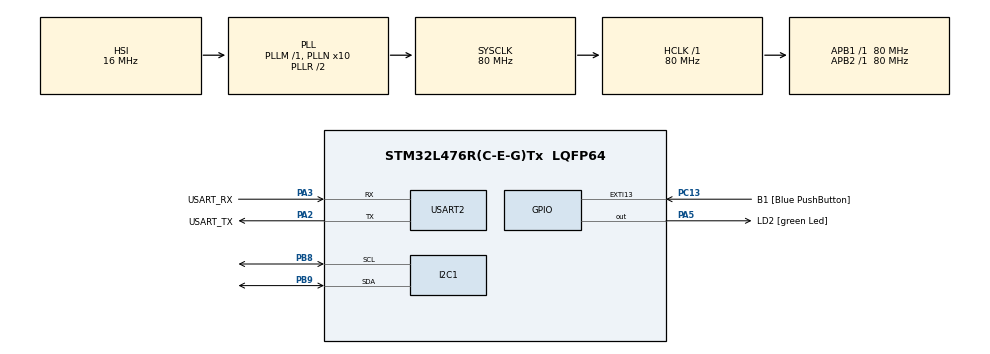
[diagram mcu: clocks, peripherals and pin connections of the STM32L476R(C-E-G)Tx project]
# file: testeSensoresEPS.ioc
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I2C1.Timing=0x10D19CE4
Mcu.Family=STM32L4
Mcu.Name=STM32L476R(C-E-G)Tx
Mcu.Package=LQFP64
NVIC.PriorityGroup=NVIC_PRIORITYGROUP_4
PA13\ (JTMS-SWDIO).GPIO_Label=TMS
PA13\ (JTMS-SWDIO).Mode=Serial_Wire
PA13\ (JTMS-SWDIO).Signal=SYS_JTMS-SWDIO
PA14\ (JTCK-SWCLK).GPIO_Label=TCK
PA14\ (JTCK-SWCLK).Mode=Serial_Wire
PA14\ (JTCK-SWCLK).Signal=SYS_JTCK-SWCLK
PA2.GPIO_Label=USART_TX
PA2.GPIO_Mode=GPIO_MODE_AF_PP
PA2.GPIO_PuPd=GPIO_NOPULL
PA2.GPIO_Speed=GPIO_SPEED_FREQ_VERY_HIGH
PA2.Mode=Asynchronous
PA2.Signal=USART2_TX
PA3.GPIO_Label=USART_RX
PA3.GPIO_Mode=GPIO_MODE_AF_PP
PA3.GPIO_PuPd=GPIO_NOPULL
PA3.GPIO_Speed=GPIO_SPEED_FREQ_VERY_HIGH
PA3.Mode=Asynchronous
PA3.Signal=USART2_RX
PA5.GPIO_Label=LD2 [green Led]
PA5.GPIO_ModeDefaultOutputPP=GPIO_MODE_OUTPUT_PP
PA5.GPIO_PuPd=GPIO_NOPULL
PA5.GPIO_Speed=GPIO_SPEED_FREQ_LOW
PA5.Signal=GPIO_Output
PB3\ (JTDO-TRACESWO).GPIO_Label=SWO
PB3\ (JTDO-TRACESWO).Signal=SYS_JTDO-SWO
PB8.Mode=I2C
PB8.Signal=I2C1_SCL
PB9.Mode=I2C
PB9.Signal=I2C1_SDA
PC13.GPIO_Label=B1 [Blue PushButton]
PC13.GPIO_ModeDefaultEXTI=GPIO_MODE_IT_FALLING
PC13.GPIO_PuPd=GPIO_NOPULL
PC13.Signal=GPXTI13
PC14-OSC32_IN\ (PC14).Mode=LSE-External-Oscillator
PC14-OSC32_IN\ (PC14).Signal=RCC_OSC32_IN
PC15-OSC32_OUT\ (PC15).Mode=LSE-External-Oscillator
PC15-OSC32_OUT\ (PC15).Signal=RCC_OSC32_OUT
PH0-OSC_IN\ (PH0).Signal=RCC_OSC_IN
PH1-OSC_OUT\ (PH1).Signal=RCC_OSC_OUT
ProjectManager.HeapSize=0x200
ProjectManager.StackSize=0x400
ProjectManager.TargetToolchain=CMake
RCC.ADCFreq_Value=64000000
RCC.AHBFreq_Value=80000000
RCC.APB1Freq_Value=80000000
RCC.APB1TimFreq_Value=80000000
RCC.APB2Freq_Value=80000000
RCC.APB2TimFreq_Value=80000000
RCC.CortexFreq_Value=80000000
RCC.HCLKFreq_Value=80000000
RCC.HSE_VALUE=8000000
RCC.HSI_VALUE=16000000
RCC.MSI_VALUE=4000000
RCC.PLLN=10
RCC.PLLSourceVirtual=RCC_PLLSOURCE_HSI
RCC.PREFETCH_ENABLE=1
RCC.SYSCLKFreq_VALUE=80000000
RCC.SYSCLKSource=RCC_SYSCLKSOURCE_PLLCLK
RCC.USBFreq_Value=64000000
RCC.VCOOutputFreq_Value=160000000
USART2.VirtualMode-Asynchronous=VM_ASYNC
board=NUCLEO-L476RG

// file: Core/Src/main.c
/* USER CODE BEGIN Header */
/**
  ******************************************************************************
  * @file           : main.c
  * @brief          : Main program body
  ******************************************************************************
  * @attention
  *
  * Copyright (c) 2026 STMicroelectronics.
  * All rights reserved.
  *
  * This software is licensed under terms that can be found in the LICENSE file
  * in the root directory of this software component.
  * If no LICENSE file comes with this software, it is provided AS-IS.
  *
  ******************************************************************************
  */
/* USER CODE END Header */
#include "main.h"

/* USER CODE BEGIN Includes */
#include "ina3221.h"
#include "mp2733.h"
#include <stdio.h>
/* USER CODE END Includes */

/* USER CODE BEGIN PD */
#define SUCCESS_STR "+1000 aura\r\n"
/* USER CODE END PD */

I2C_HandleTypeDef hi2c1;

UART_HandleTypeDef huart2;

void SystemClock_Config(void);
static void MX_GPIO_Init(void);
static void MX_I2C1_Init(void);
static void MX_USART2_UART_Init(void);

int main(void)
{

  /* MCU Configuration--------------------------------------------------------*/

  /* Reset of all peripherals, Initializes the Flash interface and the Systick. */

  HAL_Init();

  /* Configure the system clock */
  SystemClock_Config();

  /* Initialize all configured peripherals */
  MX_GPIO_Init();
  MX_I2C1_Init();
  MX_USART2_UART_Init();

  /* Infinite loop */
  /* USER CODE BEGIN WHILE */

  // Creates handles
     INA3221_Handle h;
     MP2733_HandleTypeDef MP2733;
  while (1)
  {
    /* USER CODE END WHILE */

    /* USER CODE BEGIN 3 */

    // Initialization and reset

    // INA3221
      // this addr val is lowkey hardcoded
      INA3221_init(&h, &hi2c1, INA3221_ADDR_VS, 500u);

      printf("trying to reset ina3221...\r\n");
      INA3221_Error err;
      err = INA3221_set_cfg(&h,
        INA3221_CFG_RESET
      );
      if (err != INA3221_OK) {
        printf("error init INA: %u\r\n", err);
        continue; // commented out to allow MP2733 initialization even if INA3221 fails
      } else {
        printf(SUCCESS_STR);
      }

    // MP2733
      MP2733_Init(&MP2733, &hi2c1);
      uint8_t mp2733_initialized = MP2733_WriteConfig(&MP2733);
      if (mp2733_initialized)
      {
          printf("MP2733 inicializado com sucesso!\r\n");
      }
      else
      {
          printf("Erro na inicialização do MP2733!\r\n");
      }

    HAL_Delay(100u);

    // Configuration

    // INA
      printf("trying to configure ina3221...\r\n");
      err = INA3221_set_cfg(&h,
        INA3221_CFG_CHAN_1
        | INA3221_CFG_CHAN_2
        | INA3221_CFG_CHAN_3
        | INA3221_CFG_AVG_1
        | INA3221_CFG_TIME_BUS_1100_US
        | INA3221_CFG_TIME_SHUNT_1100_US
        | INA3221_CFG_MODE_SHUNT_AND_BUS_CONTINUOUS
      );
      if (err != INA3221_OK) {
        printf("error: %u\r\n", err);
        // continue;
      } else {
        printf(SUCCESS_STR);
      }

    // MP2733
      // Configuration is already done in MP2733_Init, so no need to configure again here

    HAL_Delay(100u);

    // INA die id reading
    printf("trying to read die id...\r\n");
    uint16_t id;
    err = INA3221_read_reg(&h, INA3221_REG_DIE_ID, &id);
    if (err != INA3221_OK) {
      printf("error: %u\r\n", err);
      // continue;
    } else {
      printf(SUCCESS_STR);
      printf("die id is %x in hex\r\n", id);
    }

    HAL_Delay(100u);

    unsigned i = 0u;

    // Configs done, starts reading loop
    while (1) {
      //each loop reads a different INA channel
      INA3221_Chan chan;
      switch (i) {
        case 0u:
          chan = INA3221_CHAN_1;
          break;
        case 1u:
          chan = INA3221_CHAN_2;
          break;
        case 2u:
          chan = INA3221_CHAN_3;
          break;
        default: // unreachable
          chan = INA3221_CHAN_1;
          break;
      }

      INA3221_Reg reg_bus;
      INA3221_Reg reg_shunt;
      switch (chan) {
        case INA3221_CHAN_1:
          reg_bus = INA3221_REG_CHAN_1_BUS;
          reg_shunt = INA3221_REG_CHAN_1_SHUNT;
          break;
        case INA3221_CHAN_2:
          reg_bus = INA3221_REG_CHAN_2_BUS;
          reg_shunt = INA3221_REG_CHAN_2_SHUNT;
          break;
        case INA3221_CHAN_3:
          reg_bus = INA3221_REG_CHAN_3_BUS;
          reg_shunt = INA3221_REG_CHAN_3_SHUNT;
          break;
        default: // unreachable
          reg_bus = INA3221_REG_CHAN_1_BUS;
          reg_shunt = INA3221_REG_CHAN_1_SHUNT;
          break;
      }

      // printf("trying to read shunt voltage from channel %u\r\n", i);
      uint16_t v;
      err = INA3221_read_reg(&h, reg_shunt, &v);
      if (err != INA3221_OK) {
        printf("error: %u\r\n", err);
        //continue;
      } else {
        printf(SUCCESS_STR);
      }

      printf("current %u is %.1f ma\r\n ", i, (float)(v >> 3u) * 40e-6 * 1e3 * 1e1);
      printf("raw current %u is %.1f ma\r\n ", i, (float)((int16_t)v >> 3u) * 40e-6 * 1e3 * 1e1);

      // printf("trying to read bus voltage from channel %u\r\n", i);
      err = INA3221_read_reg(&h, reg_bus, &v);
      if (err != INA3221_OK) {
        printf("error: %u\r\n", err);
        // continue;
      } else {
        printf(SUCCESS_STR);
      }
      printf("voltage %u is %f V\r\n", i, (float)(v >> 3u) * 8e-3);

      i = (i+1u)%3u;

      if (mp2733_initialized)
      {
          // Lê e exibe status
          if (MP2733_GetStatus(&MP2733))
          {
              MP2733_PrintStatus(&MP2733);
          }

          // Lê e exibe falhas
          if (MP2733_GetFault(&MP2733))
          {
              MP2733_PrintFault(&MP2733);
          }

          printf("---\r\n");
      }
      else {

          printf("MP2733 não inicializado, pulando leitura de status e falhas.\r\n");
      }

      HAL_Delay(1000u);
    }
  }
  /* USER CODE END 3 */
}

void SystemClock_Config(void)
{
  RCC_OscInitTypeDef RCC_OscInitStruct = {0};
  RCC_ClkInitTypeDef RCC_ClkInitStruct = {0};

  /** Configure the main internal regulator output voltage
  */
  if (HAL_PWREx_ControlVoltageScaling(PWR_REGULATOR_VOLTAGE_SCALE1) != HAL_OK)
  {
    Error_Handler();
  }

  /** Initializes the RCC Oscillators according to the specified parameters
  * in the RCC_OscInitTypeDef structure.
  */
  RCC_OscInitStruct.OscillatorType = RCC_OSCILLATORTYPE_HSI;
  RCC_OscInitStruct.HSIState = RCC_HSI_ON;
  RCC_OscInitStruct.HSICalibrationValue = RCC_HSICALIBRATION_DEFAULT;
  RCC_OscInitStruct.PLL.PLLState = RCC_PLL_ON;
  RCC_OscInitStruct.PLL.PLLSource = RCC_PLLSOURCE_HSI;
  RCC_OscInitStruct.PLL.PLLM = 1;
  RCC_OscInitStruct.PLL.PLLN = 10;
  RCC_OscInitStruct.PLL.PLLP = RCC_PLLP_DIV7;
  RCC_OscInitStruct.PLL.PLLQ = RCC_PLLQ_DIV2;
  RCC_OscInitStruct.PLL.PLLR = RCC_PLLR_DIV2;
  if (HAL_RCC_OscConfig(&RCC_OscInitStruct) != HAL_OK)
  {
    Error_Handler();
  }

  /** Initializes the CPU, AHB and APB buses clocks
  */
  RCC_ClkInitStruct.ClockType = RCC_CLOCKTYPE_HCLK|RCC_CLOCKTYPE_SYSCLK
                              |RCC_CLOCKTYPE_PCLK1|RCC_CLOCKTYPE_PCLK2;
  RCC_ClkInitStruct.SYSCLKSource = RCC_SYSCLKSOURCE_PLLCLK;
  RCC_ClkInitStruct.AHBCLKDivider = RCC_SYSCLK_DIV1;
  RCC_ClkInitStruct.APB1CLKDivider = RCC_HCLK_DIV1;
  RCC_ClkInitStruct.APB2CLKDivider = RCC_HCLK_DIV1;

  if (HAL_RCC_ClockConfig(&RCC_ClkInitStruct, FLASH_LATENCY_4) != HAL_OK)
  {
    Error_Handler();
  }
}

static void MX_I2C1_Init(void)
{

  hi2c1.Instance = I2C1;
  hi2c1.Init.Timing = 0x10D19CE4;
  hi2c1.Init.OwnAddress1 = 0;
  hi2c1.Init.AddressingMode = I2C_ADDRESSINGMODE_7BIT;
  hi2c1.Init.DualAddressMode = I2C_DUALADDRESS_DISABLE;
  hi2c1.Init.OwnAddress2 = 0;
  hi2c1.Init.OwnAddress2Masks = I2C_OA2_NOMASK;
  hi2c1.Init.GeneralCallMode = I2C_GENERALCALL_DISABLE;
  hi2c1.Init.NoStretchMode = I2C_NOSTRETCH_DISABLE;
  if (HAL_I2C_Init(&hi2c1) != HAL_OK)
  {
    Error_Handler();
  }

  /** Configure Analogue filter
  */
  if (HAL_I2CEx_ConfigAnalogFilter(&hi2c1, I2C_ANALOGFILTER_ENABLE) != HAL_OK)
  {
    Error_Handler();
  }

  /** Configure Digital filter
  */
  if (HAL_I2CEx_ConfigDigitalFilter(&hi2c1, 0) != HAL_OK)
  {
    Error_Handler();
  }

}

static void MX_USART2_UART_Init(void)
{

  huart2.Instance = USART2;
  huart2.Init.BaudRate = 115200;
  huart2.Init.WordLength = UART_WORDLENGTH_8B;
  huart2.Init.StopBits = UART_STOPBITS_1;
  huart2.Init.Parity = UART_PARITY_NONE;
  huart2.Init.Mode = UART_MODE_TX_RX;
  huart2.Init.HwFlowCtl = UART_HWCONTROL_NONE;
  huart2.Init.OverSampling = UART_OVERSAMPLING_16;
  huart2.Init.OneBitSampling = UART_ONE_BIT_SAMPLE_DISABLE;
  huart2.AdvancedInit.AdvFeatureInit = UART_ADVFEATURE_NO_INIT;
  if (HAL_UART_Init(&huart2) != HAL_OK)
  {
    Error_Handler();
  }

}

static void MX_GPIO_Init(void)
{
  GPIO_InitTypeDef GPIO_InitStruct = {0};

  /* GPIO Ports Clock Enable */
  __HAL_RCC_GPIOC_CLK_ENABLE();
  __HAL_RCC_GPIOH_CLK_ENABLE();
  __HAL_RCC_GPIOA_CLK_ENABLE();
  __HAL_RCC_GPIOB_CLK_ENABLE();

  /*Configure GPIO pin Output Level */
  HAL_GPIO_WritePin(LD2_GPIO_Port, LD2_Pin, GPIO_PIN_RESET);

  /*Configure GPIO pin : B1_Pin */
  GPIO_InitStruct.Pin = B1_Pin;
  GPIO_InitStruct.Mode = GPIO_MODE_IT_FALLING;
  GPIO_InitStruct.Pull = GPIO_NOPULL;
  HAL_GPIO_Init(B1_GPIO_Port, &GPIO_InitStruct);

  /*Configure GPIO pin : LD2_Pin */
  GPIO_InitStruct.Pin = LD2_Pin;
  GPIO_InitStruct.Mode = GPIO_MODE_OUTPUT_PP;
  GPIO_InitStruct.Pull = GPIO_NOPULL;
  GPIO_InitStruct.Speed = GPIO_SPEED_FREQ_LOW;
  HAL_GPIO_Init(LD2_GPIO_Port, &GPIO_InitStruct);

}

/* USER CODE BEGIN 4 */
int __io_putchar(int ch) {
  HAL_UART_Transmit(&huart2, (uint8_t*)&ch, 1, HAL_MAX_DELAY);
  return ch;
}
/* USER CODE END 4 */

void Error_Handler(void)
{
  __disable_irq();
  while (1)
  {
  }
}
